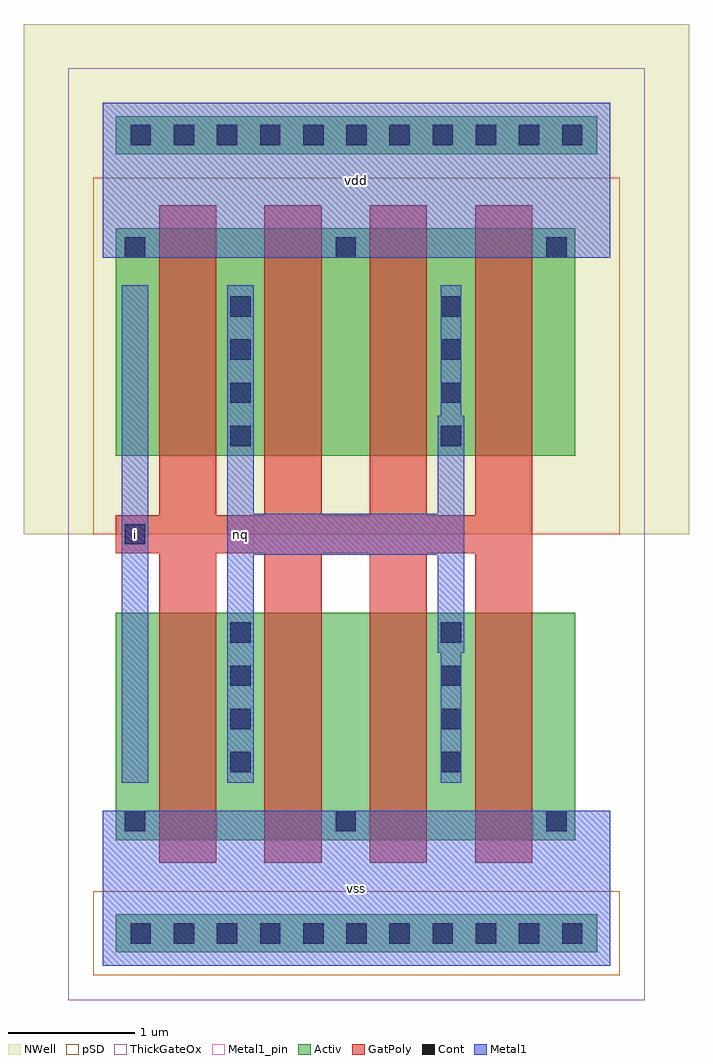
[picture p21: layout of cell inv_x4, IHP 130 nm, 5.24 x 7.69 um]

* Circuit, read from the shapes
.subckt inv_x4 i nq vdd vss
XM1 nq i vss vss sg13_hv_nmos w=1.79u l=0.45u m=4
XM2 nq i vdd vdd sg13_hv_pmos w=1.79u l=0.45u m=4
.ends

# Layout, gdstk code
import gdstk
lib = gdstk.Library(unit=1e-6, precision=1e-09)
def R(c, l, rs):  # rectangles x0, y0, x1, y1
    for r in rs: c.add(gdstk.rectangle(r[:2], r[2:], *l))
def A(c, l, x, y, w, h, nx, ny, dx, dy):  # array of equal rectangles
    R(c, l, [(x+i*dx, y+j*dy, x+i*dx+w, y+j*dy+h) for i in range(nx) for j in range(ny)])
def P(c, l, *ps):  # polygons
    for p in ps: c.add(gdstk.Polygon(p, *l))
Activ = (1, 0)
GatPoly = (5, 0)
Cont = (6, 0)
Metal1 = (8, 0)
Metal1_pin = (8, 2)
pSD = (14, 0)
NWell = (31, 0)
ThickGateOx = (44, 0)

inv_x4 = lib.new_cell('inv_x4')
R(inv_x4, Activ, [(0.105,0.105,3.895,0.405), (0.105,0.99,3.725,2.78), (0.105,4.02,3.725,5.81), (0.105,6.395,3.895,6.695)])
P(inv_x4, GatPoly, [(0.445,0.81),(0.445,3.25),(0.105,3.25),(0.105,3.55),(0.445,3.55),(0.445,5.99),(0.895,5.99),(0.895,3.55),(1.275,3.55),(1.275,5.99),(1.725,5.99),(1.725,3.55),(2.105,3.55),(2.105,5.99),(2.555,5.99),(2.555,3.55),(2.935,3.55),(2.935,5.99),(3.385,5.99),(3.385,0.81),(2.935,0.81),(2.935,3.25),(2.555,3.25),(2.555,0.81),(2.105,0.81),(2.105,3.25),(1.725,3.25),(1.725,0.81),(1.275,0.81),(1.275,3.25),(0.895,3.25),(0.895,0.81)])
A(inv_x4, Cont, 0.22, 0.175, 0.16, 0.16, 11, 2, 0.34, 6.29)
A(inv_x4, Cont, 0.175, 1.06, 0.16, 0.16, 3, 2, 1.66, 4.52)
A(inv_x4, Cont, 1.005, 1.525, 0.16, 0.16, 1, 4, 0, 0.34)
A(inv_x4, Cont, 2.665, 1.525, 0.16, 0.16, 1, 4, 0, 0.34)
A(inv_x4, Cont, 1.005, 4.095, 0.16, 0.16, 1, 4, 0, 0.34)
A(inv_x4, Cont, 2.665, 4.095, 0.16, 0.16, 1, 4, 0, 0.34)
R(inv_x4, Cont, [(0.175,3.32,0.335,3.48)])
R(inv_x4, Metal1, [(0,0,4,1.22), (0.15,1.44,0.36,5.36), (0,5.58,4,6.8)])
P(inv_x4, Metal1, [(0.98,1.44),(0.98,5.36),(1.19,5.36),(1.19,3.56),(2.64,3.56),(2.64,4.335),(2.665,4.335),(2.665,5.36),(2.825,5.36),(2.825,4.335),(2.85,4.335),(2.85,2.465),(2.825,2.465),(2.825,1.44),(2.665,1.44),(2.665,2.465),(2.64,2.465),(2.64,3.24),(1.19,3.24),(1.19,1.44)])
R(inv_x4, Metal1_pin, [(0,0,4,1.22), (0.15,1.44,0.36,5.36), (0.98,1.44,1.19,5.36), (0,5.58,4,6.8)])
R(inv_x4, pSD, [(-0.075,-0.075,4.075,0.585), (-0.075,3.4,4.075,6.21)])
R(inv_x4, NWell, [(-0.62,3.4,4.62,7.42)])
R(inv_x4, ThickGateOx, [(-0.27,-0.27,4.27,7.07)])
inv_x4.add(gdstk.Label('vss', (2,0.61), layer=8, texttype=2))
inv_x4.add(gdstk.Label('vdd', (2,6.19), layer=8, texttype=2))
inv_x4.add(gdstk.Label('nq', (1.085,3.4), layer=8, texttype=2))
inv_x4.add(gdstk.Label('i', (0.255,3.4), layer=8, texttype=2))

lib.write_gds('inv_x4.gds')
